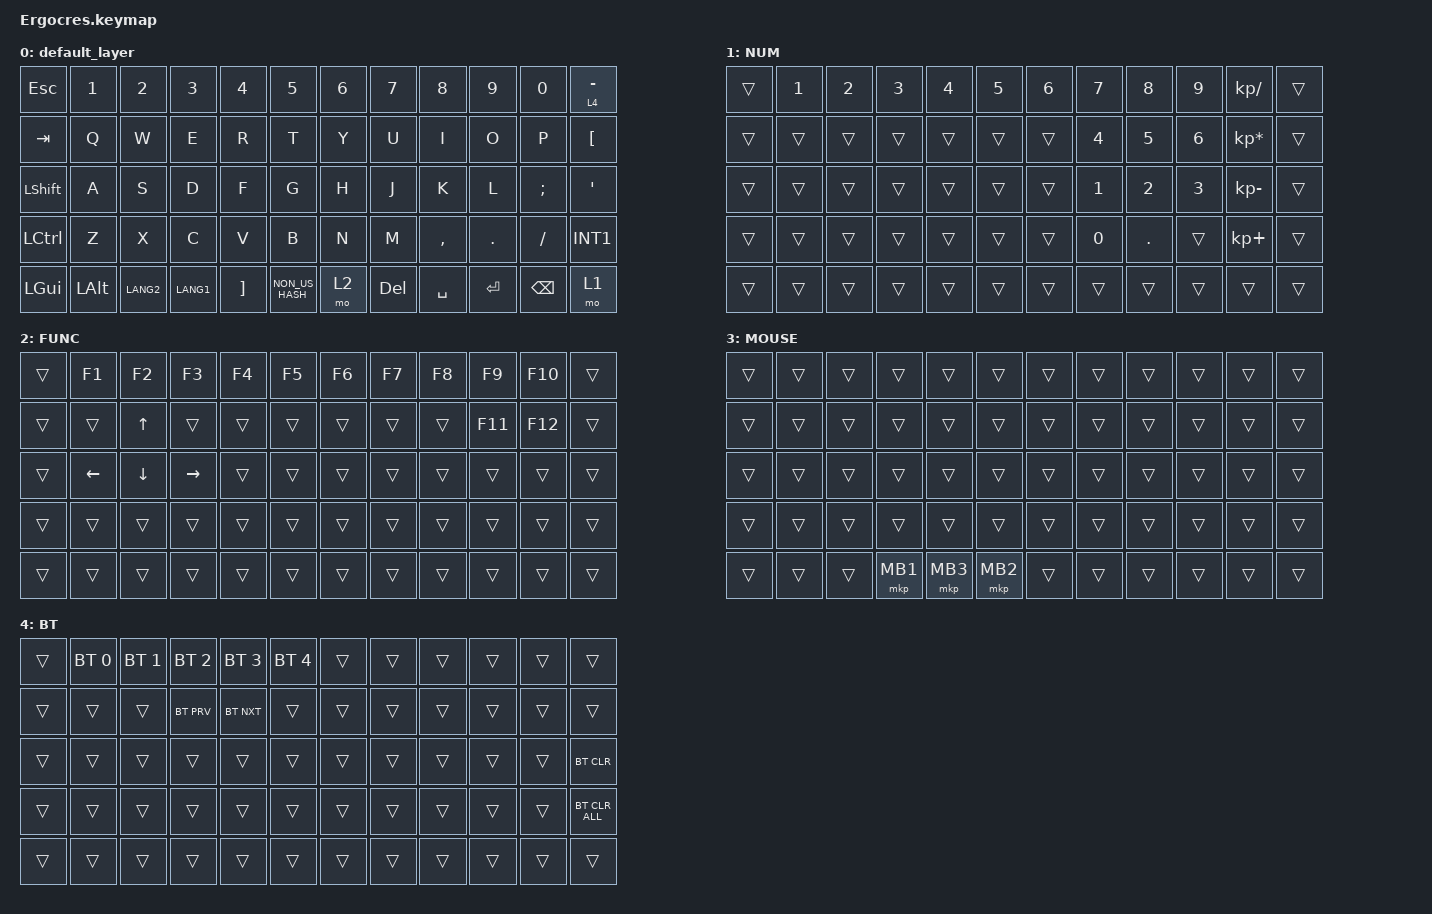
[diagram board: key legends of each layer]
#include <behaviors.dtsi>
#include <dt-bindings/zmk/bt.h>
#include <dt-bindings/zmk/keys.h>
#include <dt-bindings/zmk/pointing.h>

&mt {
    flavor = "balanced";
    quick-tap-ms = <0>;
};

/ {
    combos { compatible = "zmk,combos"; };

    macros {
        to_layer_0: to_layer_0 {
            compatible = "zmk,behavior-macro-one-param";
            #binding-cells = <1>;
            bindings = <&to 0 &macro_param_1to1 &kp MACRO_PLACEHOLDER>;
            label = "TO_LAYER_0";
        };
    };

    lt_to_layer_0: lt_to_layer_0 {
        compatible = "zmk,behavior-hold-tap";
        label = "LAYER_TAP_TO_0";
        bindings = <&mo>, <&to_layer_0>;

        #binding-cells = <2>;
        tapping-term-ms = <200>;
    };
};

/ {
    behaviors {
    };

    keymap {
        compatible = "zmk,keymap";

        default_layer {
            bindings = <
&kp ESCAPE        &kp N1        &kp N2     &kp N3     &kp N4             &kp N5             &kp N6  &kp N7   &kp N8     &kp N9     &kp N0         &lt 4 MINUS
&kp TAB           &kp Q         &kp W      &kp E      &kp R              &kp T              &kp Y   &kp U    &kp I      &kp O      &kp P          &kp LEFT_BRACKET
&kp LEFT_SHIFT    &kp A         &kp S      &kp D      &kp F              &kp G              &kp H   &kp J    &kp K      &kp L      &kp SEMI       &kp SQT
&kp LEFT_CONTROL  &kp Z         &kp X      &kp C      &kp V              &kp B              &kp N   &kp M    &kp COMMA  &kp DOT    &kp FSLH       &kp INT1
&kp LEFT_GUI      &kp LEFT_ALT  &kp LANG2  &kp LANG1  &kp RIGHT_BRACKET  &kp NON_US_HASH    &mo 2   &kp DEL  &kp SPACE  &kp ENTER  &kp BACKSPACE  &mo 1
            >;
        };

        NUM {
            bindings = <
&trans  &kp N1  &kp N2  &kp N3  &kp N4  &kp N5    &kp N6  &kp N7  &kp N8   &kp N9  &kp KP_SLASH     &trans
&trans  &trans  &trans  &trans  &trans  &trans    &trans  &kp N4  &kp N5   &kp N6  &kp KP_ASTERISK  &trans
&trans  &trans  &trans  &trans  &trans  &trans    &trans  &kp N1  &kp N2   &kp N3  &kp KP_MINUS     &trans
&trans  &trans  &trans  &trans  &trans  &trans    &trans  &kp N0  &kp DOT  &trans  &kp KP_PLUS      &trans
&trans  &trans  &trans  &trans  &trans  &trans    &trans  &trans  &trans   &trans  &trans           &trans
            >;
        };

        FUNC {
            bindings = <
&trans  &kp F1          &kp F2          &kp F3           &kp F4  &kp F5    &kp F6  &kp F7  &kp F8  &kp F9   &kp F10  &trans
&trans  &trans          &kp UP_ARROW    &trans           &trans  &trans    &trans  &trans  &trans  &kp F11  &kp F12  &trans
&trans  &kp LEFT_ARROW  &kp DOWN_ARROW  &kp RIGHT_ARROW  &trans  &trans    &trans  &trans  &trans  &trans   &trans   &trans
&trans  &trans          &trans          &trans           &trans  &trans    &trans  &trans  &trans  &trans   &trans   &trans
&trans  &trans          &trans          &trans           &trans  &trans    &trans  &trans  &trans  &trans   &trans   &trans
            >;
        };

        MOUSE {
            bindings = <
&trans  &trans  &trans  &trans    &trans    &trans      &trans  &trans  &trans  &trans  &trans  &trans
&trans  &trans  &trans  &trans    &trans    &trans      &trans  &trans  &trans  &trans  &trans  &trans
&trans  &trans  &trans  &trans    &trans    &trans      &trans  &trans  &trans  &trans  &trans  &trans
&trans  &trans  &trans  &trans    &trans    &trans      &trans  &trans  &trans  &trans  &trans  &trans
&trans  &trans  &trans  &mkp MB1  &mkp MB3  &mkp MB2    &trans  &trans  &trans  &trans  &trans  &trans
            >;
        };

        BT {
            bindings = <
&trans  &bt BT_SEL 0  &bt BT_SEL 1  &bt BT_SEL 2  &bt BT_SEL 3  &bt BT_SEL 4    &trans  &trans  &trans  &trans  &trans  &trans
&trans  &trans        &trans        &bt BT_PRV    &bt BT_NXT    &trans          &trans  &trans  &trans  &trans  &trans  &trans
&trans  &trans        &trans        &trans        &trans        &trans          &trans  &trans  &trans  &trans  &trans  &bt BT_CLR
&trans  &trans        &trans        &trans        &trans        &trans          &trans  &trans  &trans  &trans  &trans  &bt BT_CLR_ALL
&trans  &trans        &trans        &trans        &trans        &trans          &trans  &trans  &trans  &trans  &trans  &trans
            >;
        };
    };
};
